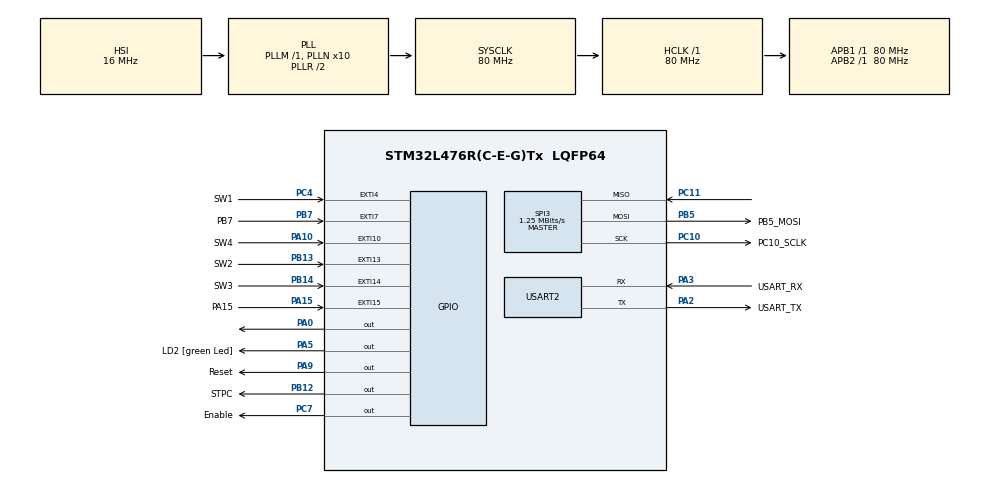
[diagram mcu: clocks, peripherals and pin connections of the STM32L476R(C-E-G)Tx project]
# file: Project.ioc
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FREERTOS.BinarySemaphores01=pedCrossingSemaphore,Dynamic,NULL,Available
FREERTOS.Events01=dirVerticalEvents,Dynamic,NULL;dirHorizontalEvents,Dynamic,NULL;pedEventFlags,Dynamic,NULL;carSensorEvent,Dynamic,NULL
FREERTOS.INCLUDE_xSemaphoreGetMutexHolder=0
FREERTOS.Mutexes01=shiftRegMutex,Dynamic,NULL,Available
FREERTOS.Tasks01=defaultTask,24,128,StartDefaultTask,Default,NULL,Dynamic,NULL,NULL;pedestrianCtrl,24,256,StartTask02,Default,NULL,Dynamic,NULL,NULL;carCtrl,8,256,StartTask03,Default,NULL,Dynamic,NULL,NULL;sensorTask,32,128,StartTask04,Default,NULL,Dynamic,NULL,NULL;USART,8,128,StartTask05,Default,NULL,Dynamic,NULL,NULL
FREERTOS.configTOTAL_HEAP_SIZE=6000
FREERTOS.configUSE_NEWLIB_REENTRANT=1
Mcu.Family=STM32L4
Mcu.Name=STM32L476R(C-E-G)Tx
Mcu.Package=LQFP64
NVIC.EXTI15_10_IRQn=true\:5\:0\:false\:false\:true\:true\:true\:true\:true
NVIC.EXTI4_IRQn=true\:5\:0\:false\:false\:true\:true\:true\:true\:true
NVIC.EXTI9_5_IRQn=true\:5\:0\:false\:false\:true\:true\:true\:true\:true
NVIC.PriorityGroup=NVIC_PRIORITYGROUP_4
NVIC.SPI3_IRQn=true\:5\:0\:false\:false\:true\:true\:true\:true\:true
NVIC.TIM1_UP_TIM16_IRQn=true\:15\:0\:false\:false\:true\:false\:false\:true\:true
NVIC.TimeBase=TIM1_UP_TIM16_IRQn
NVIC.TimeBaseIP=TIM1
NVIC.USART2_IRQn=true\:5\:0\:false\:false\:true\:true\:true\:true\:true
PA0.Signal=GPIO_Output
PA10.GPIO_Label=SW4
PA10.GPIO_ModeDefaultEXTI=GPIO_MODE_IT_FALLING
PA10.GPIO_PuPd=GPIO_PULLUP
PA10.Signal=GPXTI10
PA13\ (JTMS-SWDIO).Mode=Serial_Wire
PA13\ (JTMS-SWDIO).Signal=SYS_JTMS-SWDIO
PA14\ (JTCK-SWCLK).Mode=Serial_Wire
PA14\ (JTCK-SWCLK).Signal=SYS_JTCK-SWCLK
PA15\ (JTDI).GPIO_Label=PA15
PA15\ (JTDI).GPIO_ModeDefaultEXTI=GPIO_MODE_IT_FALLING
PA15\ (JTDI).GPIO_PuPd=GPIO_PULLUP
PA15\ (JTDI).Signal=GPXTI15
PA2.GPIO_Label=USART_TX
PA2.GPIO_Mode=GPIO_MODE_AF_PP
PA2.GPIO_PuPd=GPIO_NOPULL
PA2.GPIO_Speed=GPIO_SPEED_FREQ_VERY_HIGH
PA2.Mode=Asynchronous
PA2.Signal=USART2_TX
PA3.GPIO_Label=USART_RX
PA3.GPIO_Mode=GPIO_MODE_AF_PP
PA3.GPIO_PuPd=GPIO_NOPULL
PA3.GPIO_Speed=GPIO_SPEED_FREQ_VERY_HIGH
PA3.Mode=Asynchronous
PA3.Signal=USART2_RX
PA5.GPIO_Label=LD2 [green Led]
PA5.GPIO_ModeDefaultOutputPP=GPIO_MODE_OUTPUT_PP
PA5.GPIO_PuPd=GPIO_NOPULL
PA5.GPIO_Speed=GPIO_SPEED_FREQ_LOW
PA5.Signal=GPIO_Output
PA9.GPIO_Label=Reset
PA9.GPIO_ModeDefaultOutputPP=GPIO_MODE_OUTPUT_PP
PA9.GPIO_PuPd=GPIO_NOPULL
PA9.Signal=GPIO_Output
PB12.GPIO_Label=STPC
PB12.Signal=GPIO_Output
PB13.GPIO_Label=SW2
PB13.GPIO_ModeDefaultEXTI=GPIO_MODE_IT_FALLING
PB13.GPIO_PuPd=GPIO_PULLUP
PB13.Signal=GPXTI13
PB14.GPIO_Label=SW3
PB14.GPIO_ModeDefaultEXTI=GPIO_MODE_IT_FALLING
PB14.GPIO_PuPd=GPIO_PULLUP
PB14.Signal=GPXTI14
PB5.GPIO_Label=PB5_MOSI
PB5.Mode=Full_Duplex_Master
PB5.Signal=SPI3_MOSI
PB7.GPIO_Label=PB7
PB7.GPIO_ModeDefaultEXTI=GPIO_MODE_IT_FALLING
PB7.GPIO_PuPd=GPIO_PULLUP
PB7.Signal=GPXTI7
PC10.GPIO_Label=PC10_SCLK
PC10.Mode=Full_Duplex_Master
PC10.Signal=SPI3_SCK
PC11.Mode=Full_Duplex_Master
PC11.Signal=SPI3_MISO
PC14-OSC32_IN\ (PC14).Mode=LSE-External-Oscillator
PC14-OSC32_IN\ (PC14).Signal=RCC_OSC32_IN
PC15-OSC32_OUT\ (PC15).Mode=LSE-External-Oscillator
PC15-OSC32_OUT\ (PC15).Signal=RCC_OSC32_OUT
PC4.GPIO_Label=SW1
PC4.GPIO_ModeDefaultEXTI=GPIO_MODE_IT_FALLING
PC4.GPIO_PuPd=GPIO_PULLUP
PC4.Signal=GPXTI4
PC7.GPIO_Label=Enable
PC7.Signal=GPIO_Output
PH0-OSC_IN\ (PH0).Signal=RCC_OSC_IN
PH1-OSC_OUT\ (PH1).Signal=RCC_OSC_OUT
ProjectManager.HeapSize=0x200
ProjectManager.StackSize=0x400
ProjectManager.TargetToolchain=STM32CubeIDE
RCC.ADCFreq_Value=64000000
RCC.AHBFreq_Value=80000000
RCC.APB1Freq_Value=80000000
RCC.APB1TimFreq_Value=80000000
RCC.APB2Freq_Value=80000000
RCC.APB2TimFreq_Value=80000000
RCC.CortexFreq_Value=80000000
RCC.HCLKFreq_Value=80000000
RCC.HSE_VALUE=8000000
RCC.HSI_VALUE=16000000
RCC.MSI_VALUE=4000000
RCC.PLLN=10
RCC.PLLSourceVirtual=RCC_PLLSOURCE_HSI
RCC.PREFETCH_ENABLE=1
RCC.SYSCLKFreq_VALUE=80000000
RCC.SYSCLKSource=RCC_SYSCLKSOURCE_PLLCLK
RCC.USBFreq_Value=64000000
RCC.VCOOutputFreq_Value=160000000
SPI3.BaudRatePrescaler=SPI_BAUDRATEPRESCALER_64
SPI3.CalculateBaudRate=1.25 MBits/s
SPI3.DataSize=SPI_DATASIZE_8BIT
SPI3.Direction=SPI_DIRECTION_2LINES
SPI3.Mode=SPI_MODE_MASTER
SPI3.VirtualType=VM_MASTER
USART2.VirtualMode-Asynchronous=VM_ASYNC
VP_FREERTOS_VS_CMSIS_V2.Mode=CMSIS_V2
VP_SYS_VS_tim1.Mode=TIM1
board=NUCLEO-L476RG

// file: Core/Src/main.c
/* USER CODE BEGIN Header */
/**
  ******************************************************************************
  * @file           : main.c
  * @brief          : Main program body
  ******************************************************************************
  * @attention
  *
  * Copyright (c) 2025 STMicroelectronics.
  * All rights reserved.
  *
  * This software is licensed under terms that can be found in the LICENSE file
  * in the root directory of this software component.
  * If no LICENSE file comes with this software, it is provided AS-IS.
  *
  ******************************************************************************
  */
/* USER CODE END Header */
#include "main.h"
#include "cmsis_os.h"
#include "spi.h"
#include "usart.h"
#include "gpio.h"

/* USER CODE BEGIN Includes */
#include "../Inc/application/pedestrian_ctrl.h"
#include "../Inc/application/car_ctrl.h"
#include "../Inc/config.h"

/* USER CODE END Includes */

/* USER CODE BEGIN PV */
uint8_t tx_data[1];
uint8_t rx_data[4];
uint16_t values;

/* USER CODE END PV */

void SystemClock_Config(void);
void MX_FREERTOS_Init(void);

int main(void)
{

  /* MCU Configuration--------------------------------------------------------*/

  /* Reset of all peripherals, Initializes the Flash interface and the Systick. */
  HAL_Init();

  /* Configure the system clock */
  SystemClock_Config();

  /* Initialize all configured peripherals */
  MX_GPIO_Init();
  MX_SPI3_Init();
  MX_USART2_UART_Init();
  /* USER CODE BEGIN 2 */
  HAL_UART_Receive_IT(&huart2, rx_data, 4);

  /* USER CODE END 2 */

  /* Init scheduler */
  osKernelInitialize();

  /* Call init function for freertos objects (in cmsis_os2.c) */
  MX_FREERTOS_Init();

  /* Start scheduler */
  osKernelStart();

  /* We should never get here as control is now taken by the scheduler */

  /* Infinite loop */
  while (1)
  {
  }
}

void SystemClock_Config(void)
{
  RCC_OscInitTypeDef RCC_OscInitStruct = {0};
  RCC_ClkInitTypeDef RCC_ClkInitStruct = {0};

  /** Configure the main internal regulator output voltage
  */
  if (HAL_PWREx_ControlVoltageScaling(PWR_REGULATOR_VOLTAGE_SCALE1) != HAL_OK)
  {
    Error_Handler();
  }

  /** Initializes the RCC Oscillators according to the specified parameters
  * in the RCC_OscInitTypeDef structure.
  */
  RCC_OscInitStruct.OscillatorType = RCC_OSCILLATORTYPE_HSI;
  RCC_OscInitStruct.HSIState = RCC_HSI_ON;
  RCC_OscInitStruct.HSICalibrationValue = RCC_HSICALIBRATION_DEFAULT;
  RCC_OscInitStruct.PLL.PLLState = RCC_PLL_ON;
  RCC_OscInitStruct.PLL.PLLSource = RCC_PLLSOURCE_HSI;
  RCC_OscInitStruct.PLL.PLLM = 1;
  RCC_OscInitStruct.PLL.PLLN = 10;
  RCC_OscInitStruct.PLL.PLLP = RCC_PLLP_DIV7;
  RCC_OscInitStruct.PLL.PLLQ = RCC_PLLQ_DIV2;
  RCC_OscInitStruct.PLL.PLLR = RCC_PLLR_DIV2;
  if (HAL_RCC_OscConfig(&RCC_OscInitStruct) != HAL_OK)
  {
    Error_Handler();
  }

  /** Initializes the CPU, AHB and APB buses clocks
  */
  RCC_ClkInitStruct.ClockType = RCC_CLOCKTYPE_HCLK|RCC_CLOCKTYPE_SYSCLK
                              |RCC_CLOCKTYPE_PCLK1|RCC_CLOCKTYPE_PCLK2;
  RCC_ClkInitStruct.SYSCLKSource = RCC_SYSCLKSOURCE_PLLCLK;
  RCC_ClkInitStruct.AHBCLKDivider = RCC_SYSCLK_DIV1;
  RCC_ClkInitStruct.APB1CLKDivider = RCC_HCLK_DIV1;
  RCC_ClkInitStruct.APB2CLKDivider = RCC_HCLK_DIV1;

  if (HAL_RCC_ClockConfig(&RCC_ClkInitStruct, FLASH_LATENCY_4) != HAL_OK)
  {
    Error_Handler();
  }
}

/* USER CODE BEGIN 4 */
void HAL_UART_RxCpltCallback(UART_HandleTypeDef *huart)
{
  /* Prevent unused argument(s) compilation warning */
  UNUSED(huart);

  /* NOTE : This function should not be modified, when the callback is needed,
            the HAL_UART_RxCpltCallback can be implemented in the user file.
   */
  if (huart != &huart2) return;
  uint16_t value = (rx_data[2] << 8) | rx_data[3];
  uint8_t ack = 0x00;

  switch (rx_data[0])
  {
      case 0x01: // toggleFreq
          if (value >= 50 && value <= 3000) {
              config.toggleFreq = value;
              ack = 0x01;
          }
          break;

      case 0x02: // pedestrianDelay
          if (value >= 50 && value <= 3000) {
              config.pedestrianDelay = value;
              ack = 0x01;
          }
          break;

      case 0x03: // walkingDelay
          if (value >= 50 && value <= 3000) {
              config.walkingDelay = value;
              ack = 0x01;
          }
          break;

      case 0x04: // orangeDelay
          if (value >= 50 && value <= 3000) {
              config.orangeDelay = value;
              ack = 0x01;
          }
          break;

      default:
          ack = 0x00;
          break;
  }

  tx_data[0] = ack;

  // Non-blocking ACK
  HAL_UART_Transmit_IT(&huart2, tx_data, 1);

  // Re-arm UART reception (MANDATORY)
  HAL_UART_Receive_IT(&huart2, rx_data, 4);
}
/* USER CODE END 4 */

void HAL_TIM_PeriodElapsedCallback(TIM_HandleTypeDef *htim)
{
  if (htim->Instance == TIM1)
  {
    HAL_IncTick();
  }
}

void Error_Handler(void)
{
  __disable_irq();
  while (1)
  {
  }
}

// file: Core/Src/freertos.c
/* USER CODE BEGIN Header */
/**
  ******************************************************************************
  * File Name          : freertos.c
  * Description        : Code for freertos applications
  ******************************************************************************
  * @attention
  *
  * Copyright (c) 2025 STMicroelectronics.
  * All rights reserved.
  *
  * This software is licensed under terms that can be found in the LICENSE file
  * in the root directory of this software component.
  * If no LICENSE file comes with this software, it is provided AS-IS.
  *
  ******************************************************************************
  */
/* USER CODE END Header */

#include "FreeRTOS.h"
#include "task.h"
#include "main.h"
#include "cmsis_os.h"

/* USER CODE BEGIN Includes */
#include "../Inc/config.h"
#include "../Inc/application/pedestrian_ctrl.h"
#include "../Inc/application/car_ctrl.h"
#include "../Inc/application/traffic_manager.h"

/* USER CODE END Includes */

/* USER CODE BEGIN PD */
extern SPI_HandleTypeDef hspi3;

/* USER CODE END PD */

/* USER CODE BEGIN PM */
void USART(void *argument);
/* USER CODE END PM */

/* Definitions for defaultTask */
osThreadId_t defaultTaskHandle;
const osThreadAttr_t defaultTask_attributes = {
  .name = "defaultTask",
  .stack_size = 128 * 4,
  .priority = (osPriority_t) osPriorityNormal,
};
/* Definitions for pedestrianCtrl */
osThreadId_t pedestrianCtrlHandle;
const osThreadAttr_t pedestrianCtrl_attributes = {
  .name = "pedestrianCtrl",
  .stack_size = 256 * 4,
  .priority = (osPriority_t) osPriorityNormal,
};
/* Definitions for carCtrl */
osThreadId_t carCtrlHandle;
const osThreadAttr_t carCtrl_attributes = {
  .name = "carCtrl",
  .stack_size = 256 * 4,
  .priority = (osPriority_t) osPriorityLow,
};
/* Definitions for sensorTask */
osThreadId_t sensorTaskHandle;
const osThreadAttr_t sensorTask_attributes = {
  .name = "sensorTask",
  .stack_size = 128 * 4,
  .priority = (osPriority_t) osPriorityAboveNormal,
};
/* Definitions for USART */
osThreadId_t USARTHandle;
const osThreadAttr_t USART_attributes = {
  .name = "USART",
  .stack_size = 128 * 4,
  .priority = (osPriority_t) osPriorityLow,
};
/* Definitions for shiftRegMutex */
osMutexId_t shiftRegMutexHandle;
const osMutexAttr_t shiftRegMutex_attributes = {
  .name = "shiftRegMutex"
};
/* Definitions for pedCrossingSemaphore */
osSemaphoreId_t pedCrossingSemaphoreHandle;
const osSemaphoreAttr_t pedCrossingSemaphore_attributes = {
  .name = "pedCrossingSemaphore"
};
/* Definitions for dirVerticalEvents */
osEventFlagsId_t dirVerticalEventsHandle;
const osEventFlagsAttr_t dirVerticalEvents_attributes = {
  .name = "dirVerticalEvents"
};
/* Definitions for dirHorizontalEvents */
osEventFlagsId_t dirHorizontalEventsHandle;
const osEventFlagsAttr_t dirHorizontalEvents_attributes = {
  .name = "dirHorizontalEvents"
};
/* Definitions for pedEventFlags */
osEventFlagsId_t pedEventFlagsHandle;
const osEventFlagsAttr_t pedEventFlags_attributes = {
  .name = "pedEventFlags"
};
/* Definitions for carSensorEvent */
osEventFlagsId_t carSensorEventHandle;
const osEventFlagsAttr_t carSensorEvent_attributes = {
  .name = "carSensorEvent"
};

void StartDefaultTask(void *argument);
void StartTask02(void *argument);
void StartTask03(void *argument);
void StartTask04(void *argument);
void StartTask05(void *argument);

void MX_FREERTOS_Init(void); /* (MISRA C 2004 rule 8.1) */

void MX_FREERTOS_Init(void) {
  /* USER CODE BEGIN Init */
osKernelInitialize();
  /* USER CODE END Init */
  /* Create the mutex(es) */
  /* creation of shiftRegMutex */
  shiftRegMutexHandle = osMutexNew(&shiftRegMutex_attributes);

  /* USER CODE BEGIN RTOS_MUTEX */
  shiftRegMutex = shiftRegMutexHandle;
  /* USER CODE END RTOS_MUTEX */

  /* Create the semaphores(s) */
  /* creation of pedCrossingSemaphore */
  pedCrossingSemaphoreHandle = osSemaphoreNew(1, 1, &pedCrossingSemaphore_attributes);

  /* USER CODE BEGIN RTOS_SEMAPHORES */
  pedCrossingSemaphore = pedCrossingSemaphoreHandle;
  /* USER CODE END RTOS_SEMAPHORES */

  /* Create the thread(s) */
  /* creation of defaultTask */
  defaultTaskHandle = osThreadNew(StartDefaultTask, NULL, &defaultTask_attributes);

  /* creation of pedestrianCtrl */
  pedestrianCtrlHandle = osThreadNew(StartTask02, NULL, &pedestrianCtrl_attributes);

  /* creation of carCtrl */
  carCtrlHandle = osThreadNew(StartTask03, NULL, &carCtrl_attributes);

  /* creation of sensorTask */
  sensorTaskHandle = osThreadNew(StartTask04, NULL, &sensorTask_attributes);

  /* creation of USART */
  USARTHandle = osThreadNew(StartTask05, NULL, &USART_attributes);

  /* creation of dirVerticalEvents */
  dirVerticalEventsHandle = osEventFlagsNew(&dirVerticalEvents_attributes);

  /* creation of dirHorizontalEvents */
  dirHorizontalEventsHandle = osEventFlagsNew(&dirHorizontalEvents_attributes);

  /* creation of pedEventFlags */
  pedEventFlagsHandle = osEventFlagsNew(&pedEventFlags_attributes);

  /* creation of carSensorEvent */
  carSensorEventHandle = osEventFlagsNew(&carSensorEvent_attributes);

  /* USER CODE BEGIN RTOS_EVENTS */
  dirVerticalEvents = dirVerticalEventsHandle;
  dirHorizontalEvents = dirHorizontalEventsHandle;
  pedEventFlags = pedEventFlagsHandle;  // THIS IS WHAT'S MISSING!
  carSensorEvents = carSensorEventHandle;
  /* USER CODE END RTOS_EVENTS */

}

void StartDefaultTask(void *argument)
{
  for(;;)
  {
	  osDelay(1);
  }
}

void StartTask02(void *argument)
{
  /* USER CODE BEGIN StartTask02 */
	PedestrianCtrl_Init(); //Initialize task
	  for(;;)
	  {
		pedestrianCtrlTask(argument);
		osDelay(10);
	  }
  /* USER CODE END StartTask02 */
}

void StartTask03(void *argument)
{
  /* USER CODE BEGIN StartTask03 */
  for(;;) {
	carCtrlTask(argument);
	osDelay(10);
  }
  /* USER CODE END StartTask03 */
}

void StartTask04(void *argument)
{
  /* USER CODE BEGIN StartTask04 */
  /* Infinite loop */
  for(;;)
  {
	  Task3_Coordinator();
	  osDelay(50);

  }
  /* USER CODE END StartTask04 */
}

void StartTask05(void *argument)
{
  for(;;)
  {
    osDelay(1);
  }
}
